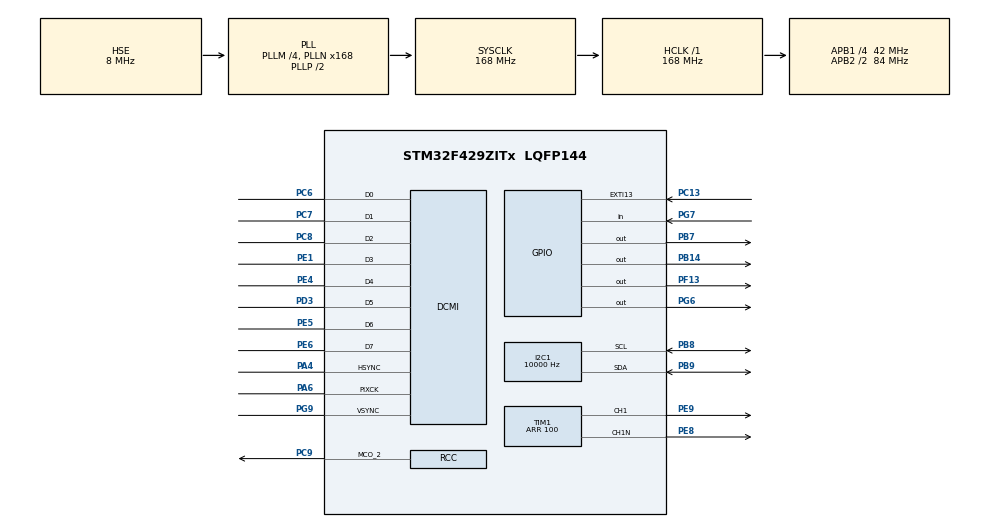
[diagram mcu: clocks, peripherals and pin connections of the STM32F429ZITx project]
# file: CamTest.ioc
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DCMI.HSPolarity=DCMI_HSPOLARITY_HIGH
DCMI.VSPolarity=DCMI_VSPOLARITY_HIGH
Dma.DCMI.0.Direction=DMA_PERIPH_TO_MEMORY
Dma.DCMI.0.FIFOMode=DMA_FIFOMODE_DISABLE
Dma.DCMI.0.Instance=DMA2_Stream1
Dma.DCMI.0.MemDataAlignment=DMA_MDATAALIGN_WORD
Dma.DCMI.0.MemInc=DMA_MINC_ENABLE
Dma.DCMI.0.Mode=DMA_NORMAL
Dma.DCMI.0.PeriphDataAlignment=DMA_PDATAALIGN_WORD
Dma.DCMI.0.PeriphInc=DMA_PINC_DISABLE
Dma.DCMI.0.Priority=DMA_PRIORITY_LOW
Dma.Request0=DCMI
I2C1.ClockSpeed=10000
I2C1.I2C_Mode=I2C_Standard
Mcu.Family=STM32F4
Mcu.Name=STM32F429ZITx
Mcu.Package=LQFP144
NVIC.DMA2_Stream1_IRQn=true\:0\:0\:false\:false\:true\:false\:true
NVIC.PriorityGroup=NVIC_PRIORITYGROUP_4
PA1.GPIO_Mode=GPIO_MODE_AF_PP
PA1.GPIO_PuPd=GPIO_NOPULL
PA1.GPIO_Speed=GPIO_SPEED_FREQ_VERY_HIGH
PA1.Signal=ETH_REF_CLK
PA13.Mode=Serial_Wire
PA13.Signal=SYS_JTMS-SWDIO
PA14.Mode=Serial_Wire
PA14.Signal=SYS_JTCK-SWCLK
PA2.GPIO_Mode=GPIO_MODE_AF_PP
PA2.GPIO_PuPd=GPIO_NOPULL
PA2.GPIO_Speed=GPIO_SPEED_FREQ_VERY_HIGH
PA2.Signal=ETH_MDIO
PA4.Mode=Slave_8_bits_External_Synchro
PA4.Signal=DCMI_HSYNC
PA6.Mode=Slave_8_bits_External_Synchro
PA6.Signal=DCMI_PIXCK
PA7.GPIO_Mode=GPIO_MODE_AF_PP
PA7.GPIO_PuPd=GPIO_NOPULL
PA7.GPIO_Speed=GPIO_SPEED_FREQ_VERY_HIGH
PA7.Signal=ETH_CRS_DV
PB13.GPIO_Mode=GPIO_MODE_AF_PP
PB13.GPIO_PuPd=GPIO_NOPULL
PB13.GPIO_Speed=GPIO_SPEED_FREQ_VERY_HIGH
PB13.Signal=ETH_TXD1
PB14.Signal=GPIO_Output
PB7.GPIO_ModeDefaultOutputPP=GPIO_MODE_OUTPUT_PP
PB7.GPIO_PuPd=GPIO_NOPULL
PB7.GPIO_Speed=GPIO_SPEED_FREQ_LOW
PB7.PinState=GPIO_PIN_RESET
PB7.Signal=GPIO_Output
PB8.GPIO_Mode=GPIO_MODE_AF_OD
PB8.GPIO_PuPdOD=GPIO_NOPULL
PB8.GPIO_Speed=GPIO_SPEED_FREQ_VERY_HIGH
PB8.Mode=I2C
PB8.Signal=I2C1_SCL
PB9.GPIO_Mode=GPIO_MODE_AF_OD
PB9.GPIO_PuPdOD=GPIO_NOPULL
PB9.GPIO_Speed=GPIO_SPEED_FREQ_VERY_HIGH
PB9.Mode=I2C
PB9.Signal=I2C1_SDA
PC1.GPIO_Mode=GPIO_MODE_AF_PP
PC1.GPIO_PuPd=GPIO_NOPULL
PC1.GPIO_Speed=GPIO_SPEED_FREQ_VERY_HIGH
PC1.Signal=ETH_MDC
PC13.GPIO_ModeDefaultEXTI=GPIO_MODE_IT_RISING
PC13.GPIO_PuPd=GPIO_NOPULL
PC13.Signal=GPXTI13
PC14/OSC32_IN.Mode=LSE-External-Oscillator
PC14/OSC32_IN.Signal=RCC_OSC32_IN
PC15/OSC32_OUT.Mode=LSE-External-Oscillator
PC15/OSC32_OUT.Signal=RCC_OSC32_OUT
PC4.GPIO_Mode=GPIO_MODE_AF_PP
PC4.GPIO_PuPd=GPIO_NOPULL
PC4.GPIO_Speed=GPIO_SPEED_FREQ_VERY_HIGH
PC4.Signal=ETH_RXD0
PC5.GPIO_Mode=GPIO_MODE_AF_PP
PC5.GPIO_PuPd=GPIO_NOPULL
PC5.GPIO_Speed=GPIO_SPEED_FREQ_VERY_HIGH
PC5.Signal=ETH_RXD1
PC6.Mode=Slave_8_bits_External_Synchro
PC6.Signal=DCMI_D0
PC7.Mode=Slave_8_bits_External_Synchro
PC7.Signal=DCMI_D1
PC8.Mode=Slave_8_bits_External_Synchro
PC8.Signal=DCMI_D2
PC9.GPIO_Mode=GPIO_MODE_AF_PP
PC9.GPIO_PuPd=GPIO_NOPULL
PC9.GPIO_Speed=GPIO_SPEED_FREQ_LOW
PC9.Mode=Clock-out-2
PC9.Signal=RCC_MCO_2
PD3.Mode=Slave_8_bits_External_Synchro
PD3.Signal=DCMI_D5
PE1.Mode=Slave_8_bits_External_Synchro
PE1.Signal=DCMI_D3
PE4.Mode=Slave_8_bits_External_Synchro
PE4.Signal=DCMI_D4
PE5.Mode=Slave_8_bits_External_Synchro
PE5.Signal=DCMI_D6
PE6.Mode=Slave_8_bits_External_Synchro
PE6.Signal=DCMI_D7
PE8.Mode=Output Compare1 CH1 CH1N
PE8.Signal=TIM1_CH1N
PE9.GPIO_ModeDefaultPP=GPIO_MODE_AF_PP
PE9.GPIO_PuPd=GPIO_NOPULL
PE9.GPIO_Speed=GPIO_SPEED_FREQ_LOW
PE9.Signal=S_TIM1_CH1
PF13.Signal=GPIO_Output
PG11.Signal=ETH_TX_EN
PG13.GPIO_Mode=GPIO_MODE_AF_PP
PG13.GPIO_PuPd=GPIO_NOPULL
PG13.GPIO_Speed=GPIO_SPEED_FREQ_VERY_HIGH
PG13.Signal=ETH_TXD0
PG6.GPIO_ModeDefaultOutputPP=GPIO_MODE_OUTPUT_PP
PG6.GPIO_PuPd=GPIO_NOPULL
PG6.GPIO_Speed=GPIO_SPEED_FREQ_LOW
PG6.PinState=GPIO_PIN_RESET
PG6.Signal=GPIO_Output
PG7.GPIO_Mode=GPIO_MODE_INPUT
PG7.GPIO_PuPd=GPIO_NOPULL
PG7.Signal=GPIO_Input
PG9.Mode=Slave_8_bits_External_Synchro
PG9.Signal=DCMI_VSYNC
PH0/OSC_IN.Mode=HSE-External-Clock-Source
PH0/OSC_IN.Signal=RCC_OSC_IN
PH1/OSC_OUT.Mode=HSE-External-Clock-Source
PH1/OSC_OUT.Signal=RCC_OSC_OUT
ProjectManager.HeapSize=0x200
ProjectManager.StackSize=0x400
ProjectManager.TargetToolchain=SW4STM32
RCC.48MHZClocksFreq_Value=48000000
RCC.AHBFreq_Value=168000000
RCC.APB1CLKDivider=RCC_HCLK_DIV4
RCC.APB1Freq_Value=42000000
RCC.APB1TimFreq_Value=84000000
RCC.APB2CLKDivider=RCC_HCLK_DIV2
RCC.APB2Freq_Value=84000000
RCC.APB2TimFreq_Value=168000000
RCC.CortexFreq_Value=168000000
RCC.HCLKFreq_Value=168000000
RCC.HSE_VALUE=8000000
RCC.HSI_VALUE=16000000
RCC.PLLI2SR=4
RCC.PLLM=4
RCC.PLLMUL=RCC_PLL_MUL9
RCC.PLLN=168
RCC.PLLQ=7
RCC.PLLSourceVirtual=RCC_PLLSOURCE_HSE
RCC.PRESCALERUSB=RCC_USBCLKSOURCE_PLL_DIV1_5
RCC.RCC_MCO2Source=RCC_MCO2SOURCE_PLLCLK
RCC.RCC_MCODiv2=RCC_MCODIV_4
RCC.SYSCLKFreq_VALUE=168000000
RCC.SYSCLKSource=RCC_SYSCLKSOURCE_PLLCLK
RCC.SYSCLKSourceVirtual=RCC_SYSCLKSOURCE_PLLCLK
RCC.USBFreq_Value=48000000
RCC.VCOOutputFreq_Value=336000000
SH.S_TIM1_CH1.0=TIM1_CH1,Output Compare1 CH1 CH1N
TIM1.AutomaticOutput=TIM_AUTOMATICOUTPUT_DISABLE
TIM1.Channel-Output\ Compare1\ CH1\ CH1N=TIM_CHANNEL_1
TIM1.OCMode_1=TIM_OCMODE_TOGGLE
TIM1.Period=100
board=NUCLEO-F429ZI

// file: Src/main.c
/* USER CODE BEGIN Header */
/**
  ******************************************************************************
  * @file           : main.c
  * @brief          : Main program body
  ******************************************************************************
  ** This notice applies to any and all portions of this file
  * that are not between comment pairs USER CODE BEGIN and
  * USER CODE END. Other portions of this file, whether
  * inserted by the user or by software development tools
  * are owned by their respective copyright owners.
  *
  * COPYRIGHT(c) 2019 STMicroelectronics
  *
  * Redistribution and use in source and binary forms, with or without modification,
  * are permitted provided that the following conditions are met:
  *   1. Redistributions of source code must retain the above copyright notice,
  *      this list of conditions and the following disclaimer.
  *   2. Redistributions in binary form must reproduce the above copyright notice,
  *      this list of conditions and the following disclaimer in the documentation
  *      and/or other materials provided with the distribution.
  *   3. Neither the name of STMicroelectronics nor the names of its contributors
  *      may be used to endorse or promote products derived from this software
  *      without specific prior written permission.
  *
  * THIS SOFTWARE IS PROVIDED BY THE COPYRIGHT HOLDERS AND CONTRIBUTORS "AS IS"
  * AND ANY EXPRESS OR IMPLIED WARRANTIES, INCLUDING, BUT NOT LIMITED TO, THE
  * IMPLIED WARRANTIES OF MERCHANTABILITY AND FITNESS FOR A PARTICULAR PURPOSE ARE
  * DISCLAIMED. IN NO EVENT SHALL THE COPYRIGHT HOLDER OR CONTRIBUTORS BE LIABLE
  * FOR ANY DIRECT, INDIRECT, INCIDENTAL, SPECIAL, EXEMPLARY, OR CONSEQUENTIAL
  * DAMAGES (INCLUDING, BUT NOT LIMITED TO, PROCUREMENT OF SUBSTITUTE GOODS OR
  * SERVICES; LOSS OF USE, DATA, OR PROFITS; OR BUSINESS INTERRUPTION) HOWEVER
  * CAUSED AND ON ANY THEORY OF LIABILITY, WHETHER IN CONTRACT, STRICT LIABILITY,
  * OR TORT (INCLUDING NEGLIGENCE OR OTHERWISE) ARISING IN ANY WAY OUT OF THE USE
  * OF THIS SOFTWARE, EVEN IF ADVISED OF THE POSSIBILITY OF SUCH DAMAGE.
  *
  ******************************************************************************
  */
/* USER CODE END Header */

#include "main.h"

DCMI_HandleTypeDef hdcmi;
DMA_HandleTypeDef hdma_dcmi;

I2C_HandleTypeDef hi2c1;

TIM_HandleTypeDef htim1;

void SystemClock_Config(void);
static void MX_GPIO_Init(void);
static void MX_DMA_Init(void);
static void MX_DCMI_Init(void);
static void MX_I2C1_Init(void);
static void MX_TIM1_Init(void);
/* USER CODE BEGIN PFP */
static void Camera_Config(void);
/* USER CODE END PFP */

int main(void)
{

  /* MCU Configuration--------------------------------------------------------*/

  /* Reset of all peripherals, Initializes the Flash interface and the Systick. */
  HAL_Init();

  /* Configure the system clock */
  SystemClock_Config();

  /* Initialize all configured peripherals */
  MX_GPIO_Init();
  MX_DMA_Init();
  MX_DCMI_Init();
  MX_I2C1_Init();
  MX_TIM1_Init();
  /* USER CODE BEGIN 2 */
  uint8_t buf[57600] = {0};
  Camera_Config();
  HAL_GPIO_WritePin(GPIOB,GPIO_PIN_7, SET);   // blue light
  HAL_GPIO_WritePin(GPIOB,GPIO_PIN_14,RESET);   // red light
  HAL_DCMI_Start_DMA(&hdcmi,DCMI_MODE_SNAPSHOT,buf,57600);
  /*HAL_Delay(2000);
  uint8_t buf[1] = {0x20};
  HAL_StatusTypeDef stat;
  stat = HAL_I2C_Mem_Write(&hi2c1,0x60,0x00,I2C_MEMADD_SIZE_8BIT,buf,1,2000);
  buf[0] = 0x69;
  //HAL_Delay(200);
  stat = HAL_I2C_Mem_Read(&hi2c1,0x60,0x00,I2C_MEMADD_SIZE_8BIT,buf,1,2000);
  if((stat == HAL_OK) && (buf[0] == 0x20)) {
      HAL_GPIO_WritePin(GPIOB,GPIO_PIN_7,SET);
  }
  buf[0] = 0x1 << 7;
  stat = HAL_I2C_Mem_Write(&hi2c1,0x60,0x12,I2C_MEMADD_SIZE_8BIT,buf,1,2000);
  HAL_Delay(200);
  stat = HAL_I2C_Mem_Read(&hi2c1,0x60,0x00,I2C_MEMADD_SIZE_8BIT,buf,1,2000);
  if((stat == HAL_OK) && (buf[0] == 0x00)) {
	  HAL_GPIO_WritePin(GPIOB,GPIO_PIN_14,SET);
  }*/
  /* USER CODE END 2 */

  /* Infinite loop */
  while (1)
  {

    /* USER CODE BEGIN 3 */
    asm("wfi");
  }
  /* USER CODE END 3 */
}

void SystemClock_Config(void)
{
  RCC_OscInitTypeDef RCC_OscInitStruct = {0};
  RCC_ClkInitTypeDef RCC_ClkInitStruct = {0};

  /**Configure the main internal regulator output voltage
  */
  __HAL_RCC_PWR_CLK_ENABLE();
  __HAL_PWR_VOLTAGESCALING_CONFIG(PWR_REGULATOR_VOLTAGE_SCALE1);
  /**Initializes the CPU, AHB and APB busses clocks
  */
  RCC_OscInitStruct.OscillatorType = RCC_OSCILLATORTYPE_HSE;
  RCC_OscInitStruct.HSEState = RCC_HSE_BYPASS;
  RCC_OscInitStruct.PLL.PLLState = RCC_PLL_ON;
  RCC_OscInitStruct.PLL.PLLSource = RCC_PLLSOURCE_HSE;
  RCC_OscInitStruct.PLL.PLLM = 4;
  RCC_OscInitStruct.PLL.PLLN = 168;
  RCC_OscInitStruct.PLL.PLLP = RCC_PLLP_DIV2;
  RCC_OscInitStruct.PLL.PLLQ = 7;
  if (HAL_RCC_OscConfig(&RCC_OscInitStruct) != HAL_OK)
  {
    Error_Handler();
  }
  /**Initializes the CPU, AHB and APB busses clocks
  */
  RCC_ClkInitStruct.ClockType = RCC_CLOCKTYPE_HCLK|RCC_CLOCKTYPE_SYSCLK
                              |RCC_CLOCKTYPE_PCLK1|RCC_CLOCKTYPE_PCLK2;
  RCC_ClkInitStruct.SYSCLKSource = RCC_SYSCLKSOURCE_PLLCLK;
  RCC_ClkInitStruct.AHBCLKDivider = RCC_SYSCLK_DIV1;
  RCC_ClkInitStruct.APB1CLKDivider = RCC_HCLK_DIV4;
  RCC_ClkInitStruct.APB2CLKDivider = RCC_HCLK_DIV2;

  if (HAL_RCC_ClockConfig(&RCC_ClkInitStruct, FLASH_LATENCY_5) != HAL_OK)
  {
    Error_Handler();
  }
  HAL_RCC_MCOConfig(RCC_MCO2, RCC_MCO2SOURCE_PLLCLK, RCC_MCODIV_4);
}

static void MX_DCMI_Init(void)
{

  hdcmi.Instance = DCMI;
  hdcmi.Init.SynchroMode = DCMI_SYNCHRO_HARDWARE;
  hdcmi.Init.PCKPolarity = DCMI_PCKPOLARITY_FALLING;
  hdcmi.Init.VSPolarity = DCMI_VSPOLARITY_HIGH;
  hdcmi.Init.HSPolarity = DCMI_HSPOLARITY_HIGH;
  hdcmi.Init.CaptureRate = DCMI_CR_ALL_FRAME;
  hdcmi.Init.ExtendedDataMode = DCMI_EXTEND_DATA_8B;
  hdcmi.Init.JPEGMode = DCMI_JPEG_DISABLE;
  if (HAL_DCMI_Init(&hdcmi) != HAL_OK)
  {
    Error_Handler();
  }

}

static void MX_I2C1_Init(void)
{

  hi2c1.Instance = I2C1;
  hi2c1.Init.ClockSpeed = 10000;
  hi2c1.Init.DutyCycle = I2C_DUTYCYCLE_2;
  hi2c1.Init.OwnAddress1 = 0;
  hi2c1.Init.AddressingMode = I2C_ADDRESSINGMODE_7BIT;
  hi2c1.Init.DualAddressMode = I2C_DUALADDRESS_DISABLE;
  hi2c1.Init.OwnAddress2 = 0;
  hi2c1.Init.GeneralCallMode = I2C_GENERALCALL_DISABLE;
  hi2c1.Init.NoStretchMode = I2C_NOSTRETCH_DISABLE;
  if (HAL_I2C_Init(&hi2c1) != HAL_OK)
  {
    Error_Handler();
  }
  /**Configure Analogue filter
  */
  if (HAL_I2CEx_ConfigAnalogFilter(&hi2c1, I2C_ANALOGFILTER_ENABLE) != HAL_OK)
  {
    Error_Handler();
  }
  /**Configure Digital filter
  */
  if (HAL_I2CEx_ConfigDigitalFilter(&hi2c1, 0) != HAL_OK)
  {
    Error_Handler();
  }

}

static void MX_TIM1_Init(void)
{

  TIM_MasterConfigTypeDef sMasterConfig = {0};
  TIM_OC_InitTypeDef sConfigOC = {0};
  TIM_BreakDeadTimeConfigTypeDef sBreakDeadTimeConfig = {0};

  htim1.Instance = TIM1;
  htim1.Init.Prescaler = 0;
  htim1.Init.CounterMode = TIM_COUNTERMODE_UP;
  htim1.Init.Period = 100;
  htim1.Init.ClockDivision = TIM_CLOCKDIVISION_DIV1;
  htim1.Init.RepetitionCounter = 0;
  if (HAL_TIM_OC_Init(&htim1) != HAL_OK)
  {
    Error_Handler();
  }
  sMasterConfig.MasterOutputTrigger = TIM_TRGO_RESET;
  sMasterConfig.MasterSlaveMode = TIM_MASTERSLAVEMODE_DISABLE;
  if (HAL_TIMEx_MasterConfigSynchronization(&htim1, &sMasterConfig) != HAL_OK)
  {
    Error_Handler();
  }
  sConfigOC.OCMode = TIM_OCMODE_TOGGLE;
  sConfigOC.Pulse = 0;
  sConfigOC.OCPolarity = TIM_OCPOLARITY_HIGH;
  sConfigOC.OCNPolarity = TIM_OCNPOLARITY_HIGH;
  sConfigOC.OCFastMode = TIM_OCFAST_DISABLE;
  sConfigOC.OCIdleState = TIM_OCIDLESTATE_RESET;
  sConfigOC.OCNIdleState = TIM_OCNIDLESTATE_RESET;
  if (HAL_TIM_OC_ConfigChannel(&htim1, &sConfigOC, TIM_CHANNEL_1) != HAL_OK)
  {
    Error_Handler();
  }
  sBreakDeadTimeConfig.OffStateRunMode = TIM_OSSR_DISABLE;
  sBreakDeadTimeConfig.OffStateIDLEMode = TIM_OSSI_DISABLE;
  sBreakDeadTimeConfig.LockLevel = TIM_LOCKLEVEL_OFF;
  sBreakDeadTimeConfig.DeadTime = 0;
  sBreakDeadTimeConfig.BreakState = TIM_BREAK_DISABLE;
  sBreakDeadTimeConfig.BreakPolarity = TIM_BREAKPOLARITY_HIGH;
  sBreakDeadTimeConfig.AutomaticOutput = TIM_AUTOMATICOUTPUT_DISABLE;
  if (HAL_TIMEx_ConfigBreakDeadTime(&htim1, &sBreakDeadTimeConfig) != HAL_OK)
  {
    Error_Handler();
  }
  HAL_TIM_MspPostInit(&htim1);

}

static void MX_DMA_Init(void)
{
  /* DMA controller clock enable */
  __HAL_RCC_DMA2_CLK_ENABLE();

  /* DMA interrupt init */
  /* DMA2_Stream1_IRQn interrupt configuration */
  HAL_NVIC_SetPriority(DMA2_Stream1_IRQn, 0, 0);
  HAL_NVIC_EnableIRQ(DMA2_Stream1_IRQn);

}

static void MX_GPIO_Init(void)
{
  GPIO_InitTypeDef GPIO_InitStruct = {0};

  /* GPIO Ports Clock Enable */
  __HAL_RCC_GPIOE_CLK_ENABLE();
  __HAL_RCC_GPIOC_CLK_ENABLE();
  __HAL_RCC_GPIOH_CLK_ENABLE();
  __HAL_RCC_GPIOA_CLK_ENABLE();
  __HAL_RCC_GPIOF_CLK_ENABLE();
  __HAL_RCC_GPIOB_CLK_ENABLE();
  __HAL_RCC_GPIOG_CLK_ENABLE();
  __HAL_RCC_GPIOD_CLK_ENABLE();

  /*Configure GPIO pin Output Level */
  HAL_GPIO_WritePin(GPIOF, GPIO_PIN_13, GPIO_PIN_RESET);

  /*Configure GPIO pin Output Level */
  HAL_GPIO_WritePin(GPIOB, GPIO_PIN_14|GPIO_PIN_7, GPIO_PIN_RESET);

  /*Configure GPIO pin Output Level */
  HAL_GPIO_WritePin(GPIOG, GPIO_PIN_6, GPIO_PIN_RESET);

  /*Configure GPIO pin : PC13 */
  GPIO_InitStruct.Pin = GPIO_PIN_13;
  GPIO_InitStruct.Mode = GPIO_MODE_IT_RISING;
  GPIO_InitStruct.Pull = GPIO_NOPULL;
  HAL_GPIO_Init(GPIOC, &GPIO_InitStruct);

  /*Configure GPIO pins : PC1 PC4 PC5 */
  GPIO_InitStruct.Pin = GPIO_PIN_1|GPIO_PIN_4|GPIO_PIN_5;
  GPIO_InitStruct.Mode = GPIO_MODE_AF_PP;
  GPIO_InitStruct.Pull = GPIO_NOPULL;
  GPIO_InitStruct.Speed = GPIO_SPEED_FREQ_VERY_HIGH;
  GPIO_InitStruct.Alternate = GPIO_AF11_ETH;
  HAL_GPIO_Init(GPIOC, &GPIO_InitStruct);

  /*Configure GPIO pins : PA1 PA2 PA7 */
  GPIO_InitStruct.Pin = GPIO_PIN_1|GPIO_PIN_2|GPIO_PIN_7;
  GPIO_InitStruct.Mode = GPIO_MODE_AF_PP;
  GPIO_InitStruct.Pull = GPIO_NOPULL;
  GPIO_InitStruct.Speed = GPIO_SPEED_FREQ_VERY_HIGH;
  GPIO_InitStruct.Alternate = GPIO_AF11_ETH;
  HAL_GPIO_Init(GPIOA, &GPIO_InitStruct);

  /*Configure GPIO pin : PF13 */
  GPIO_InitStruct.Pin = GPIO_PIN_13;
  GPIO_InitStruct.Mode = GPIO_MODE_OUTPUT_PP;
  GPIO_InitStruct.Pull = GPIO_NOPULL;
  GPIO_InitStruct.Speed = GPIO_SPEED_FREQ_LOW;
  HAL_GPIO_Init(GPIOF, &GPIO_InitStruct);

  /*Configure GPIO pin : PB13 */
  GPIO_InitStruct.Pin = GPIO_PIN_13;
  GPIO_InitStruct.Mode = GPIO_MODE_AF_PP;
  GPIO_InitStruct.Pull = GPIO_NOPULL;
  GPIO_InitStruct.Speed = GPIO_SPEED_FREQ_VERY_HIGH;
  GPIO_InitStruct.Alternate = GPIO_AF11_ETH;
  HAL_GPIO_Init(GPIOB, &GPIO_InitStruct);

  /*Configure GPIO pins : PB14 PB7 */
  GPIO_InitStruct.Pin = GPIO_PIN_14|GPIO_PIN_7;
  GPIO_InitStruct.Mode = GPIO_MODE_OUTPUT_PP;
  GPIO_InitStruct.Pull = GPIO_NOPULL;
  GPIO_InitStruct.Speed = GPIO_SPEED_FREQ_LOW;
  HAL_GPIO_Init(GPIOB, &GPIO_InitStruct);

  /*Configure GPIO pin : PG6 */
  GPIO_InitStruct.Pin = GPIO_PIN_6;
  GPIO_InitStruct.Mode = GPIO_MODE_OUTPUT_PP;
  GPIO_InitStruct.Pull = GPIO_NOPULL;
  GPIO_InitStruct.Speed = GPIO_SPEED_FREQ_LOW;
  HAL_GPIO_Init(GPIOG, &GPIO_InitStruct);

  /*Configure GPIO pin : PG7 */
  GPIO_InitStruct.Pin = GPIO_PIN_7;
  GPIO_InitStruct.Mode = GPIO_MODE_INPUT;
  GPIO_InitStruct.Pull = GPIO_NOPULL;
  HAL_GPIO_Init(GPIOG, &GPIO_InitStruct);

  /*Configure GPIO pin : PC9 */
  GPIO_InitStruct.Pin = GPIO_PIN_9;
  GPIO_InitStruct.Mode = GPIO_MODE_AF_PP;
  GPIO_InitStruct.Pull = GPIO_NOPULL;
  GPIO_InitStruct.Speed = GPIO_SPEED_FREQ_LOW;
  GPIO_InitStruct.Alternate = GPIO_AF0_MCO;
  HAL_GPIO_Init(GPIOC, &GPIO_InitStruct);

  /*Configure GPIO pins : PG11 PG13 */
  GPIO_InitStruct.Pin = GPIO_PIN_11|GPIO_PIN_13;
  GPIO_InitStruct.Mode = GPIO_MODE_AF_PP;
  GPIO_InitStruct.Pull = GPIO_NOPULL;
  GPIO_InitStruct.Speed = GPIO_SPEED_FREQ_VERY_HIGH;
  GPIO_InitStruct.Alternate = GPIO_AF11_ETH;
  HAL_GPIO_Init(GPIOG, &GPIO_InitStruct);

}

/* USER CODE BEGIN 4 */
static void Camera_Config(void) {
	uint8_t addr[149] = {
			 0x00,0x01,0x02,0x03,0x04,0x09,0x0b,0x0e,0x0f,0x11,
			 0x12,0x13,0x14,0x15,0x16,0x17,0x18,0x19,0x1a,0x1e,
			 0x24,0x25,0x26,0x27,0x28,0x29,0x2a,0x2b,0x2c,0x32,
			 0x33,0x34,0x35,0x36,0x38,0x39,0x3a,0x3b,0x3d,0x3e,
			 0x3f,0x40,0x41,0x42,0x43,0x44,0x45,0x46,0x47,0x48,
			 0x4a,0x4b,0x4c,0x4d,0x4e,0x4f,0x50,0x51,0x52,0x53,
			 0x54,0x58,0x59,0x5a,0x5b,0x5c,0x5d,0x5e,0x5f,0x60,
			 0x61,0x62,0x63,0x64,0x65,0x66,0x69,0x6b,0x6c,0x6d,
			 0x6e,0x6f,0x70,0x71,0x72,0x73,0x74,0x75,0x76,0x77,
			 0x7A,0x7B,0x7C,0x7D,0x7E,0x7F,0x80,0x81,0x82,0x83,
			 0x84,0x85,0x86,0x87,0x88,0x89,0x8a,0x8c,0x90,0x91,
			 0x9d,0x9e,0x9f,0xa0,0xa1,0xa4,0xa5,0xa6,0xa8,0xa9,
			 0xaa,0xab,0xac,0xad,0xae,0xaf,0xb2,0xb3,0xb4,0xb5,
			 0xb6,0xb6,0xbb,0xbc,0xbd,0xbe,0xbf,0xbf,0xc0,0xc1,
			 0xc2,0xc3,0xc6,0xc7,0xc9,0xca,0xcb,0xcc,0xcd
	};

	uint8_t dat[149]= {
			0x00,0x80,0x80,0x02,0x03,0x01,0x57,0x61,0x40,0x01,
			0x62,0xc7,0x3a,0x08,0x24,0x18,0x04,0x01,0x81,0x20,
			0x3c,0x36,0x72,0x08,0x08,0x15,0x00,0x00,0x08,0xa4,
			0x00,0x3f,0x00,0x3a,0x72,0x57,0xcc,0x04,0x99,0x0e,
			0xc1,0xc0,0x41,0xc0,0x0a,0xf0,0x46,0x62,0x2a,0x3c,
			0xfc,0xfc,0x7f,0x7f,0x7f,0x98,0x98,0x00,0x28,0x70,
			0x98,0x1a,0x85,0xa9,0x64,0x84,0x53,0x0e,0xf0,0xf0,
			0xf0,0x00,0x00,0x02,0x20,0x00,0x0a,0x1a,0x04,0x55,
			0x00,0x9d,0x21,0x78,0x22,0x02,0x10,0x10,0x01,0x02,
			0x12,0x08,0x16,0x30,0x5e,0x72,0x82,0x8e,0x9a,0xa4,
			0xac,0xb8,0xc3,0xd6,0xe6,0xf2,0x24,0x80,0x7d,0x7b,
			0x02,0x02,0x7a,0x79,0x40,0x50,0x68,0x4a,0xc1,0xef,
			0x92,0x04,0x80,0x80,0x80,0x80,0xf2,0x20,0x20,0x00,
			0xaf,0xaf,0xae,0x7f,0x7f,0x7f,0x7f,0x7f,0xaa,0xc0,
			0x01,0x4e,0x05,0x82,0xe0,0xe8,0xf0,0xd8,0x93
	};

	for(int i = 0;i < 149;i++) {
		HAL_I2C_Mem_Write(&hi2c1,0x60,addr[i],I2C_MEMADD_SIZE_8BIT,&(dat[i]),1,2000);
	}
}
/* USER CODE END 4 */

void Error_Handler(void)
{
}

/************************ (C) COPYRIGHT STMicroelectronics *****END OF FILE****/
